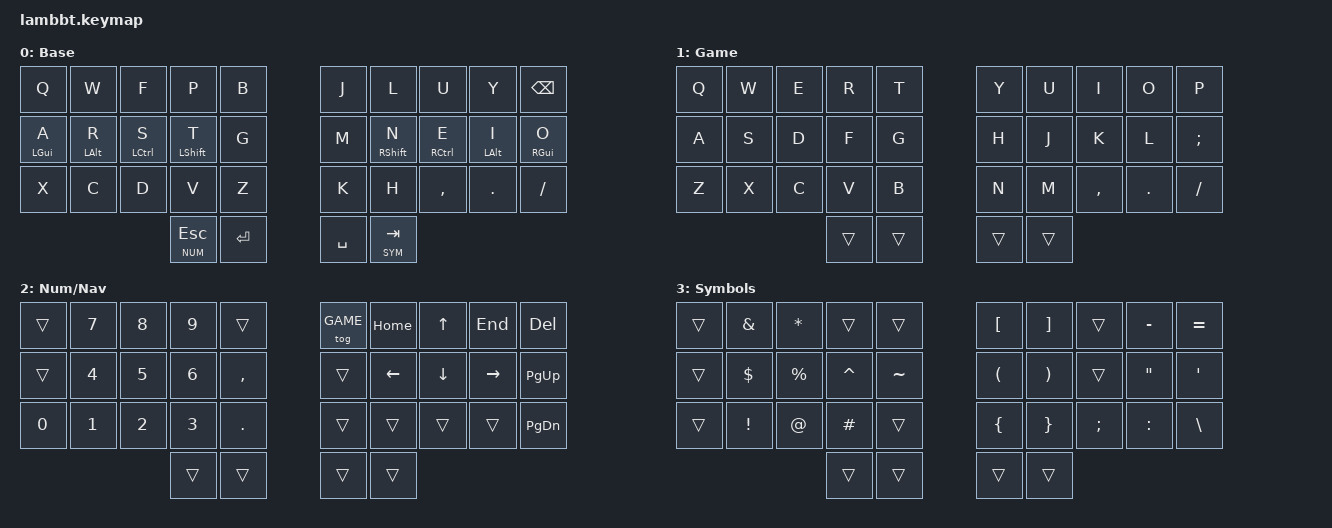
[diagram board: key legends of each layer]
// Copyright (c) 2022 The ZMK Contributors
// SPDX-License-Identifier: MIT

#include <behaviors.dtsi>
#include <dt-bindings/zmk/keys.h>
#include <dt-bindings/zmk/bt.h>
#include <dt-bindings/zmk/outputs.h>

#define GAME 1
#define NUM 2
#define SYM 3



/ {
    combos {
        #include "combos.dtsi"    
    };

    behaviors {
//        ht: hold_tap {
//            compatible = "zmk,behavior-hold-tap";
//            #binding-cells = <2>;
//            flavor = "tap-preferred";
//            tapping-term-ms = <220>;
//            quick-tap-ms = <150>;
//            require-prior-idle-ms = <100>;
//            bindings = <&kp>, <&kp>;
//        };

        hl: home_row_mod_left {
            compatible = "zmk,behavior-hold-tap";
            #binding-cells = <2>;
            flavor = "balanced";
            require-prior-idle-ms = <150>;
            tapping-term-ms = <280>;
            quick-tap-ms = <175>;
            bindings = <&kp>, <&kp>;
            hold-trigger-key-positions = < 5 6 7 8 9 15 16 17 18 19 25 26 27 28 29 30 32 33 >; // List of keys on the right side of the keyboard
            hold-trigger-on-release;
        };

        hr: home_row_mod_right {
            compatible = "zmk,behavior-hold-tap";
            #binding-cells = <2>;
            flavor = "balanced";
            require-prior-idle-ms = <150>;
            tapping-term-ms = <280>;
            quick-tap-ms = <175>;
            bindings = <&kp>, <&kp>;
            hold-trigger-key-positions = < 0 1 2 3 4 10 11 12 13 14 20 21 22 23 24 30 31 33 >; // List of keys on the left side of the keyboard
            hold-trigger-on-release;
        };
    };

    keymap {
        compatible = "zmk,keymap";

        default_layer {
            display-name = "Base";
            bindings = <
        //╭──────────┬──────────┬──────────┬──────────┬──────────╮   ╭──────────┬──────────┬──────────┬──────────┬──────────╮
        //│  Q       │  W       │  F       │  P       │  B       │   │  J       │  L       │  U       │  Y       │  BSPC    │
            &kp Q      &kp W      &kp F      &kp P      &kp B          &kp J      &kp L      &kp U      &kp Y      &kp BSPC
        //├──────────┼──────────┼──────────┼──────────┼──────────┤   ├──────────┼──────────┼──────────┼──────────┼──────────┤
        //│  A       │  R       │  S       │  T       │  G       │   │  M       │  N       │  E       │  I       │   O      │
          &hl LGUI A &hl LALT R &hl LCTRL S &hl LSHFT T &kp G        &kp M      &hr RSHFT N &hr RCTRL E &hr LALT I &hr RGUI O
        //├──────────┼──────────┼──────────┼──────────┼──────────┤   ├──────────┼──────────┼──────────┼──────────┼──────────┤
        //│  X       │  C       │  D       │  V       │  Z       │   │  K       │  H       │ , <      │ . >      │  / ?     │
            &kp X      &kp C      &kp D      &kp V      &kp Z          &kp K      &kp H      &kp COMMA  &kp DOT    &kp FSLH
        //╰──────────┴──────────┴──────────┼──────────┼──────────┤   ├──────────┼──────────┼──────────┴──────────┴──────────╯
        //                                 │          │          │   │          │          │
                                           &lt NUM ESC  &kp RET        &kp SPACE  &lt SYM TAB
        //                                 ╰──────────┴──────────╯   ╰──────────┴──────────╯
            >;
        };

        game_layer {
            display-name = "Game";
            bindings = <
        //╭──────────┬──────────┬──────────┬──────────┬──────────╮   ╭──────────┬──────────┬──────────┬──────────┬──────────╮
        //│  Q       │  W       │  E       │  R       │  T       │   │  Y       │  U       │  I       │  O       │  P       │
            &kp Q      &kp W      &kp E      &kp R      &kp T          &kp Y      &kp U      &kp I      &kp O      &kp P
        //├──────────┼──────────┼──────────┼──────────┼──────────┤   ├──────────┼──────────┼──────────┼──────────┼──────────┤
        //│  A       │  S       │  D       │  F       │  G       │   │  H       │  J       │  K       │  L       │   ;      │
            &kp A      &kp S      &kp D      &kp F      &kp G          &kp H      &kp J      &kp K      &kp L      &kp SEMI
        //├──────────┼──────────┼──────────┼──────────┼──────────┤   ├──────────┼──────────┼──────────┼──────────┼──────────┤
        //│  Z       │  X       │  C       │  V       │  B       │   │  N       │  M       │ , <      │ . >      │ / ?      │
            &kp Z      &kp X      &kp C      &kp V      &kp B          &kp N      &kp M      &kp COMMA  &kp DOT    &kp FSLH
        //╰──────────┴──────────┴──────────┼──────────┼──────────┤   ├──────────┼──────────┼──────────┴──────────┴──────────╯
        //                                 │          │          │   │          │          │
                                             &trans     &trans         &trans     &trans
        //                                 ╰──────────┴──────────╯   ╰──────────┴──────────╯
            >;
        };

        num_layer {
            display-name = "Num/Nav";
            bindings = <
        //╭──────────┬──────────┬──────────┬──────────┬──────────╮   ╭──────────┬──────────┬──────────┬──────────┬──────────╮
        //│          │          │          │          │          │   │   game   │   home   │    up    │    end   │   DEL    │
            &trans     &kp N7     &kp N8     &kp N9     &trans         &tog GAME  &kp HOME   &kp UP     &kp END    &kp DEL
        //├──────────┼──────────┼──────────┼──────────┼──────────┤   ├──────────┼──────────┼──────────┼──────────┼──────────┤
        //│          │          │          │          │          │   │          │   left   │   down   │  right   │   pgup   │
            &trans     &kp N4     &kp N5     &kp N6     &kp COMMA      &trans     &kp LEFT   &kp DOWN   &kp RIGHT  &kp PG_UP
        //├──────────┼──────────┼──────────┼──────────┼──────────┤   ├──────────┼──────────┼──────────┼──────────┼──────────┤
        //│          │          │          │          │          │   │          │          │          │          │   pgdn   │
            &kp N0     &kp N1     &kp N2     &kp N3     &kp DOT        &trans     &trans     &trans     &trans     &kp PG_DN
        //╰──────────┴──────────┴──────────┼──────────┼──────────┤   ├──────────┼──────────┼──────────┴──────────┴──────────╯
        //                                 │          │          │   │          │          │
                                             &trans     &trans         &trans     &trans
        //                                 ╰──────────┴──────────╯   ╰──────────┴──────────╯
            >;
        };

        sym_layer {
            display-name = "Symbols";
            bindings = <
        //╭──────────┬──────────┬──────────┬──────────┬──────────╮   ╭──────────┬──────────┬──────────┬──────────┬──────────╮
        //│          │    &     │    *     │          │          │   │    [     │    ]     │          │   -      │    =     │
           &trans     &kp AMPS   &kp STAR   &trans     &trans         &kp LBKT   &kp RBKT   &trans     &kp MINUS  &kp EQUAL
        //├──────────┼──────────┼──────────┼──────────┼──────────┤   ├──────────┼──────────┼──────────┼──────────┼──────────┤
        //│          │   $      │    %     │    ^     │   ~      │   │    (     │    )     │          │   "      │    '     │
           &trans     &kp DLLR   &kp PRCNT  &kp CARET  &kp TILDE      &kp LPAR   &kp RPAR   &trans     &kp DQT    &kp SQT
        //├──────────┼──────────┼──────────┼──────────┼──────────┤   ├──────────┼──────────┼──────────┼──────────┼──────────┤
        //│          │   !      │   @      │    #     │          │   │    {     │    }     │    ;     │   :      │    \     │
           &trans     &kp EXCL   &kp AT     &kp HASH   &trans         &kp LBRC   &kp RBRC   &kp SEMI   &kp COLON  &kp BSLH
        //╰──────────┴──────────┴──────────┼──────────┼──────────┤   ├──────────┼──────────┼──────────┴──────────┴──────────╯
        //                                 │          │          │   │          │          │
                                            &trans     &trans         &trans     &trans
        //                                 ╰──────────┴──────────╯   ╰──────────┴──────────╯
            >;
        };
    };
};
